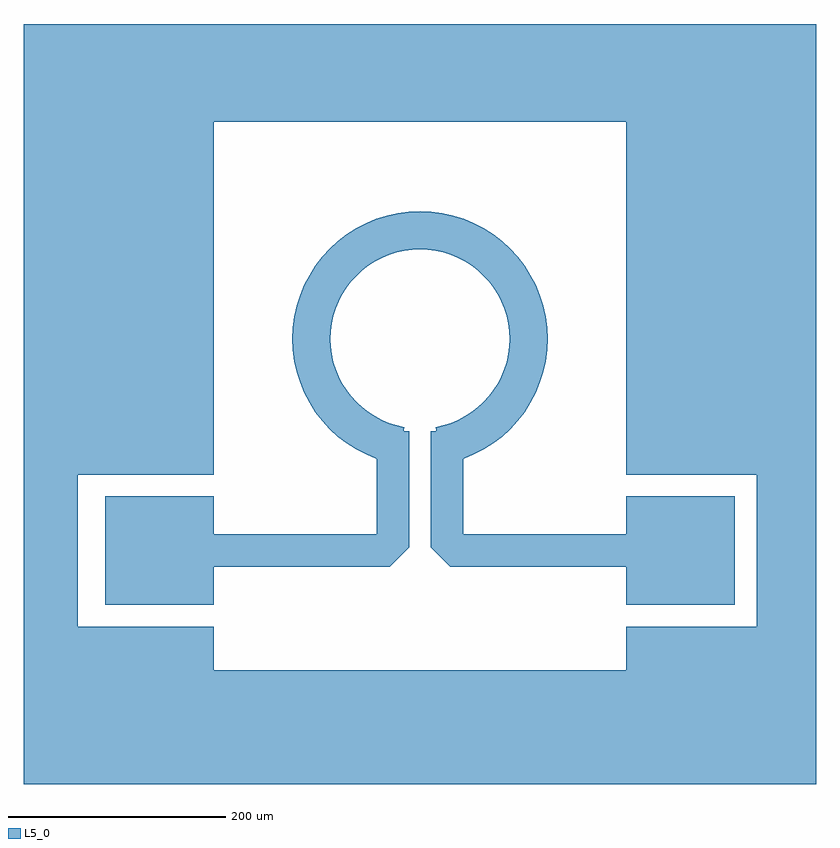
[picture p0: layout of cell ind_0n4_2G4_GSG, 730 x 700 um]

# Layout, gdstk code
import gdstk
lib = gdstk.Library(unit=1e-6, precision=5e-10)
def R(c, l, rs):  # rectangles x0, y0, x1, y1
    for r in rs: c.add(gdstk.rectangle(r[:2], r[2:], *l))
def A(c, l, x, y, w, h, nx, ny, dx, dy):  # array of equal rectangles
    R(c, l, [(x+i*dx, y+j*dy, x+i*dx+w, y+j*dy+h) for i in range(nx) for j in range(ny)])
def P(c, l, *ps):  # polygons
    for p in ps: c.add(gdstk.Polygon(p, *l))
L5_0 = (5, 0)

ind_0n4_2g4_gsg = lib.new_cell('ind_0n4_2G4_GSG')
A(ind_0n4_2g4_gsg, L5_0, -550, -365, 100, 100, 1, 3, 0, 120)
A(ind_0n4_2g4_gsg, L5_0, -70, -365, 100, 100, 1, 3, 0, 120)
R(ind_0n4_2g4_gsg, L5_0, [(-625,-410,105,-305), (-550,-410,-450,-265), (-70,-410,30,-265), (-625,-320,-575,-80), (-595,-315,-530,-265), (15,-315,80,-265), (50,-315,105,-75), (-300,-135,-270,-85), (-250,-135,-220,-85), (-625,-125,-450,290), (-70,-125,105,290), (-550,200,35,290)])
P(ind_0n4_2g4_gsg, L5_0, [(-70,-180),(-220,-180),(-220,-135),(-250,-135),(-250,-192),(-232,-210),(-70,-210)],
  [(-450,-210),(-288,-210),(-270,-192),(-270,-135),(-300,-135),(-300,-180),(-450,-180)],
  [(-177.5,0),(-142.5,0),(-142.947,10.241),(-144.285,20.4035),(-146.5035,30.411),(-149.586,40.1875),(-153.509,49.6575),(-158.242,58.75),(-163.7495,67.395),(-169.99,75.5275),(-176.915,83.085),(-184.4725,90.01),(-192.605,96.2505),(-201.25,101.758),(-210.3425,106.491),(-219.8125,110.414),(-229.589,113.4965),(-239.5965,115.715),(-249.759,117.053),(-260,117.5),(-260,82.5),(-252.8095,82.186),(-245.674,81.2465),(-238.6475,79.689),(-231.7835,77.5245),(-225.134,74.7705),(-218.75,71.447),(-212.68,67.58),(-206.97,63.1985),(-201.6635,58.3365),(-196.8015,53.03),(-192.42,47.32),(-188.553,41.25),(-185.2295,34.866),(-182.4755,28.2165),(-180.311,21.3525),(-178.7535,14.326),(-177.814,7.1905)],
  [(-260,82.5),(-260,117.5),(-270.241,117.053),(-280.4035,115.715),(-290.411,113.4965),(-300.1875,110.414),(-309.6575,106.491),(-318.75,101.758),(-327.395,96.2505),(-335.5275,90.01),(-343.085,83.085),(-350.01,75.5275),(-356.2505,67.395),(-361.758,58.75),(-366.491,49.6575),(-370.414,40.1875),(-373.4965,30.411),(-375.715,20.4035),(-377.053,10.241),(-377.5,0),(-342.5,0),(-342.186,7.1905),(-341.2465,14.326),(-339.689,21.3525),(-337.5245,28.2165),(-334.7705,34.866),(-331.447,41.25),(-327.58,47.32),(-323.1985,53.03),(-318.3365,58.3365),(-313.03,63.1985),(-307.32,67.58),(-301.25,71.447),(-294.866,74.7705),(-288.2165,77.5245),(-281.3525,79.689),(-274.326,81.2465),(-267.1905,82.186)],
  [(-342.5,0),(-377.5,0),(-377.053,-10.241),(-375.715,-20.4035),(-373.4965,-30.411),(-370.414,-40.1875),(-366.491,-49.6575),(-361.758,-58.75),(-356.2505,-67.395),(-350.01,-75.5275),(-343.085,-83.085),(-335.5275,-90.01),(-327.3955,-96.2505),(-318.75,-101.758),(-309.6575,-106.491),(-300.1875,-110.414),(-290.4115,-113.4965),(-280.4035,-115.715),(-274.326,-81.2465),(-281.3525,-79.689),(-288.2165,-77.5245),(-294.866,-74.7705),(-301.25,-71.447),(-307.32,-67.58),(-313.03,-63.1985),(-318.3365,-58.3365),(-323.1985,-53.03),(-327.58,-47.32),(-331.447,-41.25),(-334.7705,-34.866),(-337.5245,-28.2165),(-339.689,-21.3525),(-341.2465,-14.326),(-342.186,-7.1905)],
  [(-177.5,0),(-142.5,0),(-142.947,-10.241),(-144.285,-20.4035),(-146.5035,-30.411),(-149.586,-40.1875),(-153.509,-49.6575),(-158.242,-58.75),(-163.7495,-67.395),(-169.99,-75.5275),(-176.915,-83.085),(-184.4725,-90.01),(-192.6045,-96.2505),(-201.25,-101.758),(-210.3425,-106.491),(-219.8125,-110.414),(-229.5885,-113.4965),(-239.5965,-115.715),(-245.674,-81.2465),(-238.6475,-79.689),(-231.7835,-77.5245),(-225.134,-74.7705),(-218.75,-71.447),(-212.68,-67.58),(-206.97,-63.1985),(-201.6635,-58.3365),(-196.8015,-53.03),(-192.42,-47.32),(-188.553,-41.25),(-185.2295,-34.866),(-182.4755,-28.2165),(-180.311,-21.3525),(-178.7535,-14.326),(-177.814,-7.1905)])

lib.write_gds('ind_0n4_2G4_GSG.gds')
